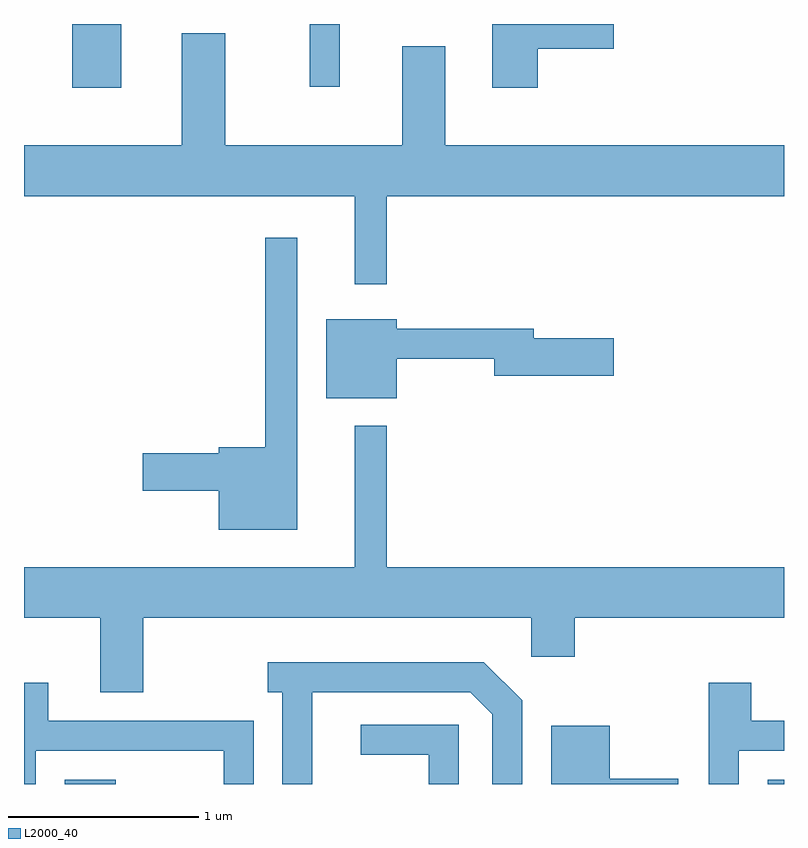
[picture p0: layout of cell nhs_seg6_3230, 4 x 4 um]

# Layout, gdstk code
import gdstk
lib = gdstk.Library(unit=1e-6, precision=1e-09)
def R(c, l, rs):  # rectangles x0, y0, x1, y1
    for r in rs: c.add(gdstk.rectangle(r[:2], r[2:], *l))
def P(c, l, *ps):  # polygons
    for p in ps: c.add(gdstk.Polygon(p, *l))
L2000_40 = (2000, 40)

nhs_seg6_3230 = lib.new_cell('nhs_seg6_3230')
R(nhs_seg6_3230, L2000_40, [(281.826,1660.162,282.094,1660.184), (285.526,1660.162,285.611,1660.184), (281.866,1663.826,282.124,1664.162), (283.116,1663.833,283.274,1664.162)])
P(nhs_seg6_3230, L2000_40, [(284.314,1664.031),(284.714,1664.031),(284.714,1664.162),(284.076,1664.162),(284.076,1663.826),(284.314,1663.826)],
  [(283.519,1663.256),(285.611,1663.256),(285.611,1663.524),(283.829,1663.524),(283.829,1664.044),(283.601,1664.044),(283.601,1663.524),(282.669,1663.524),(282.669,1664.114),(282.441,1664.114),(282.441,1663.524),(281.611,1663.524),(281.611,1663.256),(283.351,1663.256),(283.351,1662.793),(283.519,1662.793)],
  [(283.049,1663.038),(282.881,1663.038),(282.881,1661.934),(282.636,1661.934),(282.636,1661.904),(282.236,1661.904),(282.236,1661.706),(282.636,1661.706),(282.636,1661.501),(283.049,1661.501)],
  [(283.574,1662.401),(284.086,1662.401),(284.086,1662.311),(284.714,1662.311),(284.714,1662.509),(284.294,1662.509),(284.294,1662.559),(283.574,1662.559),(283.574,1662.609),(283.201,1662.609),(283.201,1662.191),(283.574,1662.191)],
  [(282.239,1661.036),(284.281,1661.036),(284.281,1660.831),(284.509,1660.831),(284.509,1661.036),(285.611,1661.036),(285.611,1661.304),(283.519,1661.304),(283.519,1662.048),(283.351,1662.048),(283.351,1661.304),(281.611,1661.304),(281.611,1661.036),(282.011,1661.036),(282.011,1660.646),(282.239,1660.646)],
  [(283.129,1660.646),(283.959,1660.646),(284.076,1660.529),(284.076,1660.162),(284.234,1660.162),(284.234,1660.602),(284.032,1660.804),(282.893,1660.804),(282.893,1660.646),(282.971,1660.646),(282.971,1660.162),(283.129,1660.162)],
  [(285.374,1660.336),(285.611,1660.336),(285.611,1660.494),(285.439,1660.494),(285.439,1660.694),(285.216,1660.694),(285.216,1660.162),(285.374,1660.162)],
  [(281.674,1660.336),(282.661,1660.336),(282.661,1660.162),(282.819,1660.162),(282.819,1660.494),(281.739,1660.494),(281.739,1660.694),(281.611,1660.694),(281.611,1660.162),(281.674,1660.162)],
  [(283.899,1660.474),(283.383,1660.474),(283.383,1660.316),(283.741,1660.316),(283.741,1660.162),(283.899,1660.162)],
  [(285.054,1660.189),(284.694,1660.189),(284.694,1660.469),(284.386,1660.469),(284.386,1660.162),(285.054,1660.162)])

lib.write_gds('nhs_seg6_3230.gds')
